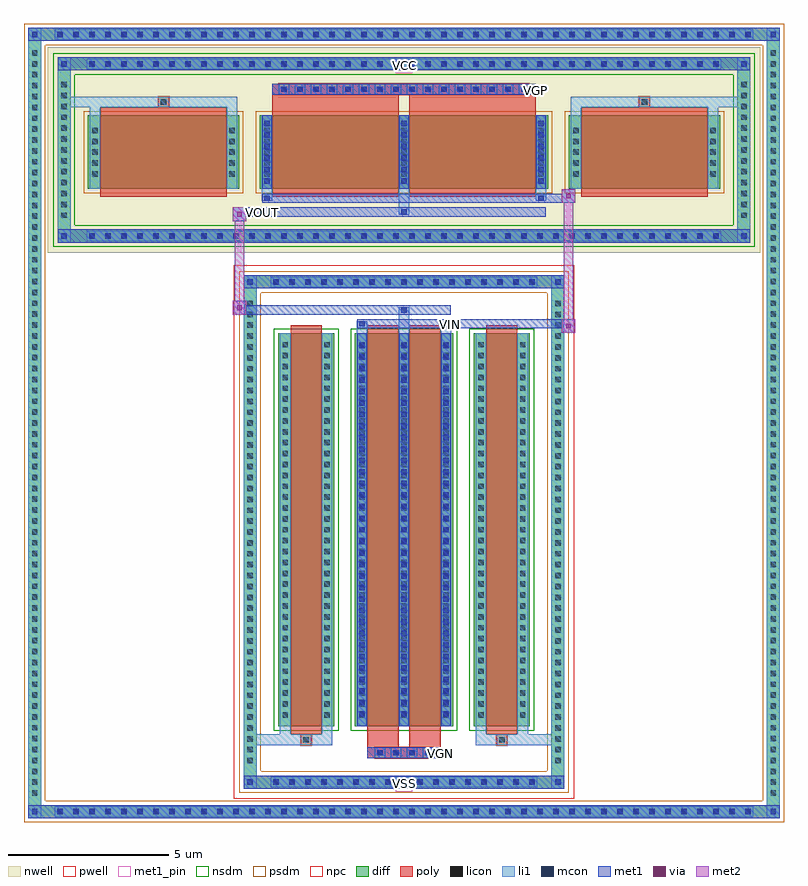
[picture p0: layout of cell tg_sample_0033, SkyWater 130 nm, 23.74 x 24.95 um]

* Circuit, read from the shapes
.subckt tg_sample_0033 VCC VGN VGP VIN VOUT VSS
XM1 VSS VSS VSS VSUBS sky130_fd_pr__nfet_01v8 w=12.29 l=0.98 m=2
XM2 VOUT VGN VIN VSUBS sky130_fd_pr__nfet_01v8 w=12.29 l=0.98 m=2
XM3 VCC VCC VCC n1 sky130_fd_pr__pfet_01v8 w=2.3 l=3.95 m=2
XM4 VOUT VGP VIN n1 sky130_fd_pr__pfet_01v8 w=2.3 l=3.95 m=2
.ends

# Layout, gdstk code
import gdstk
lib = gdstk.Library(unit=1e-6, precision=5e-09)
def R(c, l, rs):  # rectangles x0, y0, x1, y1
    for r in rs: c.add(gdstk.rectangle(r[:2], r[2:], *l))
def A(c, l, x, y, w, h, nx, ny, dx, dy):  # array of equal rectangles
    R(c, l, [(x+i*dx, y+j*dy, x+i*dx+w, y+j*dy+h) for i in range(nx) for j in range(ny)])
def P(c, l, *ps):  # polygons
    for p in ps: c.add(gdstk.Polygon(p, *l))
nwell = (64, 20)
pwell = (64, 44)
diff = (65, 20)
poly = (66, 20)
licon = (66, 44)
li1 = (67, 20)
mcon = (67, 44)
met1_pin = (68, 16)
met1 = (68, 20)
via = (68, 44)
met2 = (69, 20)
nsdm = (93, 44)
psdm = (94, 20)
npc = (95, 20)

tg_sample_0033 = lib.new_cell('tg_sample_0033')
R(tg_sample_0033, nwell, [(-11.13,8.73,11.13,15.14)])
R(tg_sample_0033, pwell, [(-5.32,-8.33,5.32,8.33)])
A(tg_sample_0033, diff, -10.955, -8.94, 0.41, 0.41, 44, 2, 0.5, 24.28)
A(tg_sample_0033, diff, -11.74, -8.36, 0.41, 0.41, 1, 69, 0, 0.34)
A(tg_sample_0033, diff, 11.33, -8.36, 0.41, 0.41, 1, 69, 0, 0.34)
A(tg_sample_0033, diff, -4.205, -8.02, 0.41, 0.41, 17, 2, 0.5, 15.63)
A(tg_sample_0033, diff, -5.01, -7.345, 0.41, 0.41, 1, 43, 0, 0.34)
A(tg_sample_0033, diff, 4.6, -7.345, 0.41, 0.41, 1, 43, 0, 0.34)
A(tg_sample_0033, diff, -9.955, 9.04, 0.41, 0.41, 40, 2, 0.5, 5.38)
A(tg_sample_0033, diff, -10.82, 9.69, 0.41, 0.41, 1, 13, 0, 0.34)
A(tg_sample_0033, diff, 10.41, 9.69, 0.41, 0.41, 1, 13, 0, 0.34)
R(tg_sample_0033, diff, [(-10.955,-8.94,10.955,-8.53), (-11.74,-8.36,-11.33,15.17), (11.33,-8.36,11.74,15.17), (-4.205,-8.02,4.205,-7.61), (-5.01,-7.345,-4.6,7.345), (4.6,-7.345,5.01,7.345), (-3.935,-6.075,-2.175,6.215), (-1.535,-6.075,1.535,6.215), (2.175,-6.075,3.935,6.215), (-4.205,7.61,4.205,8.02), (-9.955,9.04,9.955,9.45), (-10.82,9.69,-10.41,14.18), (10.41,9.69,10.82,14.18), (-9.875,10.715,-5.145,13.015), (-4.505,10.715,4.505,13.015), (5.145,10.715,9.875,13.015), (-9.955,14.42,9.955,14.83), (-10.955,15.34,10.955,15.75)])
P(tg_sample_0033, diff, [(5.01,8.02),(-5.01,8.02),(-5.01,-7.61),(-4.6,-7.61),(-4.6,7.61),(4.6,7.61),(4.6,-7.61),(-4.6,-7.61),(-5.01,-7.61),(-5.01,-8.02),(5.01,-8.02)],
  [(11.74,15.75),(-11.74,15.75),(-11.74,-8.53),(-11.33,-8.53),(-11.33,15.34),(11.33,15.34),(11.33,-8.53),(-11.33,-8.53),(-11.74,-8.53),(-11.74,-8.94),(11.74,-8.94)],
  [(10.82,9.04),(-10.82,9.04),(-10.82,14.42),(-10.41,14.42),(-10.41,9.45),(10.41,9.45),(10.41,14.42),(-10.41,14.42),(-10.82,14.42),(-10.82,14.83),(10.82,14.83)])
A(tg_sample_0033, poly, -0.915, -7.06, 0.33, 0.33, 4, 1, 0.5, 0)
A(tg_sample_0033, poly, -3.915, 13.665, 0.33, 0.33, 16, 1, 0.5, 0)
R(tg_sample_0033, poly, [(-1.145,-7.06,1.145,-6.73), (-1.145,-6.73,-0.165,-6.325), (0.165,-6.73,1.145,-6.325), (-3.22,-6.655,-2.89,-6.325), (-3.22,-6.655,-2.89,-6.325), (2.89,-6.655,3.22,-6.325), (2.89,-6.655,3.22,-6.325), (-3.545,-6.325,-2.565,6.465), (-1.145,-6.325,-0.165,6.465), (0.165,-6.325,1.145,6.465), (2.565,-6.325,3.545,6.465), (-9.485,10.465,-5.535,13.265), (-4.115,10.465,-0.165,13.265), (0.165,10.465,4.115,13.265), (5.535,10.465,9.485,13.265), (-7.675,13.265,-7.345,13.595), (-7.675,13.265,-7.345,13.595), (-4.115,13.265,-0.165,13.665), (0.165,13.265,4.115,13.665), (7.345,13.265,7.675,13.595), (7.345,13.265,7.675,13.595), (-4.115,13.665,4.115,13.995)])
A(tg_sample_0033, licon, -10.835, -8.82, 0.17, 0.17, 44, 2, 0.5, 24.28)
A(tg_sample_0033, licon, -11.62, -8.24, 0.17, 0.17, 1, 69, 0, 0.34)
A(tg_sample_0033, licon, 11.45, -8.24, 0.17, 0.17, 1, 69, 0, 0.34)
A(tg_sample_0033, licon, -4.085, -7.9, 0.17, 0.17, 17, 2, 0.5, 15.63)
A(tg_sample_0033, licon, -4.89, -7.225, 0.17, 0.17, 1, 43, 0, 0.34)
A(tg_sample_0033, licon, 4.72, -7.225, 0.17, 0.17, 1, 43, 0, 0.34)
A(tg_sample_0033, licon, -0.835, -6.98, 0.17, 0.17, 4, 1, 0.5, 0)
A(tg_sample_0033, licon, -3.795, -5.795, 0.17, 0.17, 1, 35, 0, 0.34)
A(tg_sample_0033, licon, -2.485, -5.795, 0.17, 0.17, 1, 35, 0, 0.34)
A(tg_sample_0033, licon, -1.395, -5.795, 0.17, 0.17, 3, 35, 1.31, 0.34)
A(tg_sample_0033, licon, 2.315, -5.795, 0.17, 0.17, 1, 35, 0, 0.34)
A(tg_sample_0033, licon, 3.625, -5.795, 0.17, 0.17, 1, 35, 0, 0.34)
A(tg_sample_0033, licon, -9.835, 9.16, 0.17, 0.17, 40, 2, 0.5, 5.38)
A(tg_sample_0033, licon, -10.7, 9.81, 0.17, 0.17, 1, 13, 0, 0.34)
A(tg_sample_0033, licon, 10.53, 9.81, 0.17, 0.17, 1, 13, 0, 0.34)
A(tg_sample_0033, licon, -9.735, 11.1, 0.17, 0.17, 1, 5, 0, 0.34)
A(tg_sample_0033, licon, -5.455, 11.1, 0.17, 0.17, 1, 5, 0, 0.34)
A(tg_sample_0033, licon, -4.365, 11.1, 0.17, 0.17, 3, 5, 4.28, 0.34)
A(tg_sample_0033, licon, 5.285, 11.1, 0.17, 0.17, 1, 5, 0, 0.34)
A(tg_sample_0033, licon, 9.565, 11.1, 0.17, 0.17, 1, 5, 0, 0.34)
A(tg_sample_0033, licon, -3.835, 13.745, 0.17, 0.17, 16, 1, 0.5, 0)
R(tg_sample_0033, licon, [(-3.14,-6.575,-2.97,-6.405), (2.97,-6.575,3.14,-6.405), (-7.595,13.345,-7.425,13.515), (7.425,13.345,7.595,13.515)])
A(tg_sample_0033, li1, -10.915, -8.9, 0.33, 0.33, 44, 2, 0.5, 24.28)
A(tg_sample_0033, li1, -11.7, -8.32, 0.33, 0.33, 1, 69, 0, 0.34)
A(tg_sample_0033, li1, 11.37, -8.32, 0.33, 0.33, 1, 69, 0, 0.34)
A(tg_sample_0033, li1, -4.165, -7.98, 0.33, 0.33, 17, 2, 0.5, 15.63)
A(tg_sample_0033, li1, -4.97, -7.305, 0.33, 0.33, 1, 43, 0, 0.34)
A(tg_sample_0033, li1, 4.64, -7.305, 0.33, 0.33, 1, 43, 0, 0.34)
A(tg_sample_0033, li1, -0.915, -7.06, 0.33, 0.33, 4, 1, 0.5, 0)
A(tg_sample_0033, li1, -1.475, -6.075, 0.33, 12.29, 3, 1, 1.31, 0)
A(tg_sample_0033, li1, -3.875, -5.875, 0.33, 0.33, 1, 35, 0, 0.34)
A(tg_sample_0033, li1, -2.565, -5.875, 0.33, 0.33, 1, 35, 0, 0.34)
A(tg_sample_0033, li1, -1.475, -5.875, 0.33, 0.33, 3, 35, 1.31, 0.34)
A(tg_sample_0033, li1, 2.235, -5.875, 0.33, 0.33, 1, 35, 0, 0.34)
A(tg_sample_0033, li1, 3.545, -5.875, 0.33, 0.33, 1, 35, 0, 0.34)
A(tg_sample_0033, li1, -1.395, -5.775, 0.17, 0.17, 3, 33, 1.31, 0.36)
A(tg_sample_0033, li1, -1.395, -5.775, 0.17, 11.69, 3, 1, 1.31, 0)
A(tg_sample_0033, li1, -9.915, 9.08, 0.33, 0.33, 40, 2, 0.5, 5.38)
A(tg_sample_0033, li1, -10.78, 9.73, 0.33, 0.33, 1, 13, 0, 0.34)
A(tg_sample_0033, li1, 10.45, 9.73, 0.33, 0.33, 1, 13, 0, 0.34)
A(tg_sample_0033, li1, -4.445, 10.715, 0.33, 2.3, 3, 1, 4.28, 0)
A(tg_sample_0033, li1, -4.365, 10.88, 0.17, 0.17, 3, 6, 4.28, 0.36)
A(tg_sample_0033, li1, -4.365, 10.88, 0.17, 1.97, 3, 1, 4.28, 0)
A(tg_sample_0033, li1, -9.815, 11.02, 0.33, 0.33, 1, 5, 0, 0.34)
A(tg_sample_0033, li1, -5.535, 11.02, 0.33, 0.33, 1, 5, 0, 0.34)
A(tg_sample_0033, li1, -4.445, 11.02, 0.33, 0.33, 3, 5, 4.28, 0.34)
A(tg_sample_0033, li1, 5.205, 11.02, 0.33, 0.33, 1, 5, 0, 0.34)
A(tg_sample_0033, li1, 9.485, 11.02, 0.33, 0.33, 1, 5, 0, 0.34)
A(tg_sample_0033, li1, -3.915, 13.665, 0.33, 0.33, 16, 1, 0.5, 0)
R(tg_sample_0033, li1, [(-11.74,-8.94,-11.33,-8.53), (11.33,-8.94,11.74,-8.53), (-10.915,-8.9,10.915,-8.57), (-11.62,-8.82,-11.45,-8.65), (-11.62,-8.82,-11.45,-8.65), (11.45,-8.82,11.62,-8.65), (11.45,-8.82,11.62,-8.65), (-11.74,-8.53,-11.33,15.34), (11.33,-8.53,11.74,15.34), (-5.01,-8.02,-4.6,-7.61), (4.6,-8.02,5.01,-7.61), (-4.165,-7.98,4.165,-7.65), (-4.89,-7.9,-4.72,-7.73), (-4.89,-7.9,-4.72,-7.73), (4.72,-7.9,4.89,-7.73), (4.72,-7.9,4.89,-7.73), (-5.01,-7.61,-4.6,7.61), (4.6,-7.61,5.01,7.61), (-5.01,-6.655,-3.22,-6.325), (-3.875,-6.655,-3.22,-6.325), (-3.875,-6.655,-3.545,-6.075), (-3.22,-6.655,-2.89,-6.325), (-2.89,-6.655,-2.235,-6.325), (-2.565,-6.655,-2.235,-6.075), (2.235,-6.655,2.89,-6.325), (2.235,-6.655,2.565,-6.075), (2.89,-6.655,3.22,-6.325), (2.89,-6.655,5.01,-6.325), (3.22,-6.655,3.875,-6.325), (3.545,-6.655,3.875,-6.075), (-3.875,-6.075,-3.545,6.215), (-2.565,-6.075,-2.235,6.215), (2.235,-6.075,2.565,6.215), (3.545,-6.075,3.875,6.215), (-1.475,6.215,-1.145,6.59), (-0.165,6.215,0.165,7.02), (1.145,6.215,1.475,6.59), (-1.395,6.42,-1.225,6.59), (1.225,6.42,1.395,6.59), (-0.085,6.85,0.085,7.02), (-5.01,7.61,-4.6,8.02), (4.6,7.61,5.01,8.02), (-4.165,7.65,4.165,7.98), (-4.89,7.73,-4.72,7.9), (-4.89,7.73,-4.72,7.9), (4.72,7.73,4.89,7.9), (4.72,7.73,4.89,7.9), (-10.82,9.04,-10.41,9.45), (10.41,9.04,10.82,9.45), (-9.915,9.08,9.915,9.41), (-10.7,9.16,-10.53,9.33), (-10.7,9.16,-10.53,9.33), (10.53,9.16,10.7,9.33), (10.53,9.16,10.7,9.33), (-10.82,9.45,-10.41,14.42), (10.41,9.45,10.82,14.42), (-0.165,9.91,0.165,10.715), (-0.085,9.91,0.085,10.08), (-4.445,10.34,-4.115,10.715), (-4.365,10.34,-4.195,10.51), (4.115,10.34,4.445,10.715), (4.195,10.34,4.365,10.51), (-9.815,10.715,-9.485,13.015), (-5.535,10.715,-5.205,13.015), (5.205,10.715,5.535,13.015), (9.485,10.715,9.815,13.015), (-9.815,13.015,-9.485,13.595), (-5.535,13.015,-5.205,13.595), (5.205,13.015,5.535,13.595), (9.485,13.015,9.815,13.595), (-10.82,13.265,-7.675,13.595), (-9.815,13.265,-7.675,13.595), (-7.675,13.265,-7.345,13.595), (-7.345,13.265,-5.205,13.595), (5.205,13.265,7.345,13.595), (7.345,13.265,7.675,13.595), (7.345,13.265,10.82,13.595), (7.675,13.265,9.815,13.595), (-10.82,14.42,-10.41,14.83), (10.41,14.42,10.82,14.83), (-9.915,14.46,9.915,14.79), (-10.7,14.54,-10.53,14.71), (-10.7,14.54,-10.53,14.71), (10.53,14.54,10.7,14.71), (10.53,14.54,10.7,14.71), (-11.74,15.34,-11.33,15.75), (11.33,15.34,11.74,15.75), (-10.915,15.38,10.915,15.71), (-11.62,15.46,-11.45,15.63), (-11.62,15.46,-11.45,15.63), (11.45,15.46,11.62,15.63), (11.45,15.46,11.62,15.63)])
A(tg_sample_0033, mcon, -10.835, -8.82, 0.17, 0.17, 44, 2, 0.5, 24.28)
A(tg_sample_0033, mcon, -4.085, -7.9, 0.17, 0.17, 17, 2, 0.5, 15.63)
A(tg_sample_0033, mcon, -0.835, -6.98, 0.17, 0.17, 4, 1, 0.5, 0)
A(tg_sample_0033, mcon, -1.395, -5.775, 0.17, 0.17, 3, 33, 1.31, 0.36)
A(tg_sample_0033, mcon, -9.835, 9.16, 0.17, 0.17, 40, 2, 0.5, 5.38)
A(tg_sample_0033, mcon, -4.365, 10.88, 0.17, 0.17, 3, 6, 4.28, 0.36)
A(tg_sample_0033, mcon, -3.835, 13.745, 0.17, 0.17, 16, 1, 0.5, 0)
R(tg_sample_0033, mcon, [(-11.62,-8.82,-11.45,-8.65), (11.45,-8.82,11.62,-8.65), (-4.89,-7.9,-4.72,-7.73), (4.72,-7.9,4.89,-7.73), (-1.395,6.42,-1.225,6.59), (1.225,6.42,1.395,6.59), (-0.085,6.85,0.085,7.02), (-4.89,7.73,-4.72,7.9), (4.72,7.73,4.89,7.9), (-10.7,9.16,-10.53,9.33), (10.53,9.16,10.7,9.33), (-0.085,9.91,0.085,10.08), (-4.365,10.34,-4.195,10.51), (4.195,10.34,4.365,10.51), (-10.7,14.54,-10.53,14.71), (10.53,14.54,10.7,14.71), (-11.62,15.46,-11.45,15.63), (11.45,15.46,11.62,15.63)])
R(tg_sample_0033, met1_pin, [(-0.25,-8.11,0.25,-7.61), (1.01,-7.06,1.28,-6.79), (1.32,6.36,1.59,6.63), (-4.56,9.85,-4.29,10.12), (3.98,13.665,4.25,13.935), (-0.25,14.33,0.25,14.83)])
A(tg_sample_0033, met1, -10.895, -8.88, 0.29, 0.29, 44, 2, 0.5, 24.28)
A(tg_sample_0033, met1, -4.145, -7.96, 0.29, 0.29, 17, 2, 0.5, 15.63)
A(tg_sample_0033, met1, -0.895, -7.04, 0.29, 0.29, 4, 1, 0.5, 0)
A(tg_sample_0033, met1, -1.455, -6.075, 0.29, 12.29, 3, 1, 1.31, 0)
A(tg_sample_0033, met1, -1.455, -5.835, 0.29, 0.29, 3, 33, 1.31, 0.36)
A(tg_sample_0033, met1, -9.895, 9.1, 0.29, 0.29, 40, 2, 0.5, 5.38)
A(tg_sample_0033, met1, -4.425, 10.715, 0.29, 2.3, 3, 1, 4.28, 0)
A(tg_sample_0033, met1, -4.425, 10.82, 0.29, 0.29, 3, 6, 4.28, 0.36)
A(tg_sample_0033, met1, -3.895, 13.685, 0.29, 0.29, 16, 1, 0.5, 0)
R(tg_sample_0033, met1, [(-11.74,-8.94,-11.33,-8.53), (-11.74,-8.94,-11.33,-8.53), (-11.33,-8.94,11.33,-8.53), (11.33,-8.94,11.74,-8.53), (11.33,-8.94,11.74,-8.53), (-11.68,-8.88,-11.39,-8.59), (11.39,-8.88,11.68,-8.59), (-5.01,-8.02,-4.6,-7.61), (-5.01,-8.02,-4.6,-7.61), (-4.6,-8.02,4.6,-7.61), (4.6,-8.02,5.01,-7.61), (4.6,-8.02,5.01,-7.61), (-4.95,-7.96,-4.66,-7.67), (4.66,-7.96,4.95,-7.67), (-1.145,-7.06,1.145,-6.73), (4.925,6.22,5.355,6.65), (-1.455,6.36,-1.165,6.65), (-1.455,6.36,1.455,6.65), (1.165,6.36,1.455,6.65), (1.455,6.36,5.355,6.65), (-5.355,6.79,-1.455,7.08), (-5.355,6.79,-4.925,7.22), (-1.455,6.79,1.455,7.08), (-0.145,6.79,0.145,7.08), (-5.01,7.61,-4.6,8.02), (-5.01,7.61,-4.6,8.02), (-4.6,7.61,4.6,8.02), (4.6,7.61,5.01,8.02), (4.6,7.61,5.01,8.02), (-4.95,7.67,-4.66,7.96), (4.66,7.67,4.95,7.96), (-10.82,9.04,-10.41,9.45), (-10.82,9.04,-10.41,9.45), (-10.41,9.04,10.41,9.45), (10.41,9.04,10.82,9.45), (10.41,9.04,10.82,9.45), (-10.76,9.1,-10.47,9.39), (10.47,9.1,10.76,9.39), (-5.355,9.71,-4.925,10.14), (-5.355,9.85,-4.425,10.14), (-4.425,9.85,4.425,10.14), (-0.145,9.85,0.145,10.14), (-4.425,10.28,-4.135,10.57), (-4.425,10.28,4.425,10.57), (4.135,10.28,4.425,10.57), (4.425,10.28,5.355,10.57), (4.925,10.28,5.355,10.71), (-4.115,13.665,4.115,13.995), (-10.82,14.42,-10.41,14.83), (-10.82,14.42,-10.41,14.83), (-10.41,14.42,10.41,14.83), (10.41,14.42,10.82,14.83), (10.41,14.42,10.82,14.83), (-10.76,14.48,-10.47,14.77), (10.47,14.48,10.76,14.77), (-11.74,15.34,-11.33,15.75), (-11.74,15.34,-11.33,15.75), (-11.33,15.34,11.33,15.75), (11.33,15.34,11.74,15.75), (11.33,15.34,11.74,15.75), (-11.68,15.4,-11.39,15.69), (11.39,15.4,11.68,15.69)])
R(tg_sample_0033, via, [(5.065,6.36,5.215,6.51), (-5.215,6.93,-5.065,7.08), (-5.215,9.85,-5.065,10), (5.065,10.42,5.215,10.57)])
R(tg_sample_0033, met2, [(4.925,6.22,5.355,6.65), (4.995,6.22,5.285,10.71), (5.285,6.22,5.355,6.65), (4.975,6.27,5.305,6.6), (-5.355,6.79,-4.925,7.22), (-5.285,6.79,-4.995,10.14), (-4.995,6.79,-4.925,7.22), (-5.305,6.84,-4.975,7.17), (-5.355,9.71,-4.925,10.14), (-4.995,9.71,-4.925,10.14), (-5.305,9.76,-4.975,10.09), (4.925,10.28,5.355,10.71), (5.285,10.28,5.355,10.71), (4.975,10.33,5.305,10.66)])
R(tg_sample_0033, nsdm, [(-4.065,-6.205,-2.045,6.345), (-1.665,-6.205,1.665,6.345), (2.045,-6.205,4.065,6.345)])
P(tg_sample_0033, nsdm, [(10.95,8.91),(-10.95,8.91),(-10.95,14.29),(-10.28,14.29),(-10.28,9.58),(10.28,9.58),(10.28,14.29),(-10.28,14.29),(-10.95,14.29),(-10.95,14.96),(10.95,14.96)])
R(tg_sample_0033, psdm, [(-10.005,10.585,-5.015,13.145), (-4.635,10.585,4.635,13.145), (5.015,10.585,10.005,13.145)])
P(tg_sample_0033, psdm, [(5.14,8.15),(-5.14,8.15),(-5.14,-7.48),(-4.47,-7.48),(-4.47,7.48),(4.47,7.48),(4.47,-7.48),(-4.47,-7.48),(-5.14,-7.48),(-5.14,-8.15),(5.14,-8.15)],
  [(11.87,15.88),(-11.87,15.88),(-11.87,-8.4),(-11.2,-8.4),(-11.2,15.21),(11.2,15.21),(11.2,-8.4),(-11.2,-8.4),(-11.87,-8.4),(-11.87,-9.07),(11.87,-9.07)])
A(tg_sample_0033, npc, -0.935, -7.08, 0.37, 0.37, 4, 1, 0.5, 0)
A(tg_sample_0033, npc, -3.935, 13.645, 0.37, 0.37, 16, 1, 0.5, 0)
R(tg_sample_0033, npc, [(-0.935,-7.08,-0.065,-6.71), (-0.935,-7.08,-0.065,-6.71), (-0.435,-7.08,0.435,-6.71), (-0.435,-7.08,0.435,-6.71), (0.065,-7.08,0.935,-6.71), (0.065,-7.08,0.935,-6.71), (-3.24,-6.675,-2.87,-6.305), (2.87,-6.675,3.24,-6.305), (-7.695,13.245,-7.325,13.615), (7.325,13.245,7.695,13.615), (-3.935,13.645,-3.065,14.015), (-3.935,13.645,-3.065,14.015), (-3.435,13.645,-2.565,14.015), (-3.435,13.645,-2.565,14.015), (-2.935,13.645,-2.065,14.015), (-2.935,13.645,-2.065,14.015), (-2.435,13.645,-1.565,14.015), (-2.435,13.645,-1.565,14.015), (-1.935,13.645,-1.065,14.015), (-1.935,13.645,-1.065,14.015), (-1.435,13.645,-0.565,14.015), (-1.435,13.645,-0.565,14.015), (-0.935,13.645,-0.065,14.015), (-0.935,13.645,-0.065,14.015), (-0.435,13.645,0.435,14.015), (-0.435,13.645,0.435,14.015), (0.065,13.645,0.935,14.015), (0.065,13.645,0.935,14.015), (0.565,13.645,1.435,14.015), (0.565,13.645,1.435,14.015), (1.065,13.645,1.935,14.015), (1.065,13.645,1.935,14.015), (1.565,13.645,2.435,14.015), (1.565,13.645,2.435,14.015), (2.065,13.645,2.935,14.015), (2.065,13.645,2.935,14.015), (2.565,13.645,3.435,14.015), (2.565,13.645,3.435,14.015), (3.065,13.645,3.935,14.015), (3.065,13.645,3.935,14.015)])
tg_sample_0033.add(gdstk.Label('VIN', (1.455,6.495), layer=68, texttype=5))
tg_sample_0033.add(gdstk.Label('VGN', (1.145,-6.925), layer=68, texttype=5))
tg_sample_0033.add(gdstk.Label('VGP', (4.115,13.8), layer=68, texttype=5))
tg_sample_0033.add(gdstk.Label('VSS', (0,-7.86), layer=68, texttype=5))
tg_sample_0033.add(gdstk.Label('VCC', (0,14.58), layer=68, texttype=5))
tg_sample_0033.add(gdstk.Label('VOUT', (-4.425,9.985), layer=68, texttype=5))

lib.write_gds('tg_sample_0033.gds')
